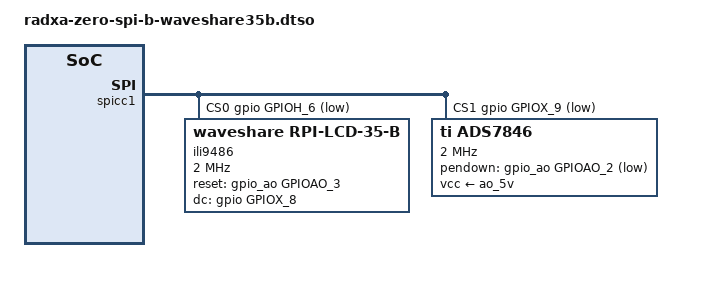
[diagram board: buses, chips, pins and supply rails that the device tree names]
/dts-v1/;
/plugin/;

#include <dt-bindings/gpio/gpio.h>
#include <dt-bindings/gpio/meson-g12a-gpio.h>
#include <dt-bindings/interrupt-controller/irq.h>

/ {
	metadata {
		title = "Enable Waveshare 3.5inch RPi LCD (B) on SPI-B";
		compatible = "radxa,zero";
		category = "misc";
		exclusive = "spicc1", "GPIOH_4", "GPIOH_5", "GPIOH_6", "GPIOH_7", "GPIOAO_3", "GPIOX_8", "GPIOX_9", "GPIOAO_2";
		description = "Enable Waveshare 3.5inch RPi LCD (B) on SPI-B.
Uses Pin 18 (GPIOX_8) for LCD_RS,
Pin 7 (GPIOAO_3) for RST,
Pin 24 (GPIOH_6) for LCD_CS,
Pin 11 (GPIOAO_2) for TP_IRQ,
Pin 26 (GPIOX_9) for TP_CS.
";
	};
};

&spicc1 {
	pinctrl-0 = <&spicc1_pins>;
	pinctrl-names = "default";
	cs-gpios = <&gpio GPIOH_6 GPIO_ACTIVE_LOW>,
			   <&gpio GPIOX_9 GPIO_ACTIVE_LOW>;
	#address-cells = <1>;
	#size-cells = <0>;
	status = "okay";
	ili9486: ili9486@0 {
		compatible = "waveshare,rpi-lcd-35-b", "ilitek,ili9486";
		reg = <0>;
		spi-max-frequency = <2000000>;
		rotation = <0>;
		buswidth = <8>;
		regwidth = <16>;
		reset-gpios = <&gpio_ao GPIOAO_3 GPIO_ACTIVE_HIGH>;
		dc-gpios = <&gpio GPIOX_8 GPIO_ACTIVE_HIGH>;
	};

	ads7846: ads7846@1 {
		compatible = "ti,ads7846";
		status = "okay";
		reg = <1>;
		spi-max-frequency = <2000000>;
		ti,x-plate-ohms = /bits/ 16 <60>;
		ti,pressure-max = /bits/ 16 <255>;
		touchscreen-inverted-y;
		touchscreen-swapped-x-y;
		ti,x-min = /bits/ 16 <200>;
		ti,x-max = /bits/ 16 <3800>;
		ti,y-min = /bits/ 16 <300>;
		ti,y-max = /bits/ 16 <3800>;
		interrupts = <2 IRQ_TYPE_EDGE_FALLING>;
		interrupt-parent = <&gpio_intc>;
		pendown-gpio = <&gpio_ao GPIOAO_2 GPIO_ACTIVE_LOW>;
		vcc-supply = <&ao_5v>;
	};
};
